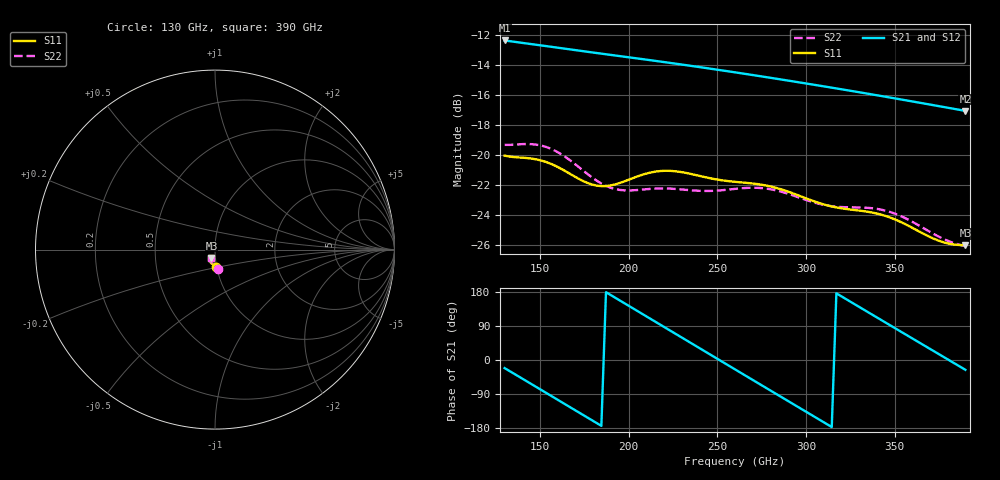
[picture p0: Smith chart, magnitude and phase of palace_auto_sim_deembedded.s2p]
! Created with skrf 1.11.0 (http://scikit-rf.org).
# GHz S DB R 50.0
!freq dBS11 angS11 dBS21 angS21 dBS12 angS12 dBS22 angS22
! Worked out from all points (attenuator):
!   101 points, 130 GHz to 390 GHz, reference 50 ohm
!   highest |S21| = -12.35 dB at 130 GHz (marker M1); lowest = -17.1 dB at 390 GHz (marker M2)
!   lowest |S11| = -26.0 dB at 390 GHz (marker M3), VSWR 1.11, Z = 47.9 - j4.41 ohm
!   |S11| at or under -10 dB: start of sweep to end of sweep
!   |S22| runs from -26.1 to -19.3 dB; largest |S21 - S12| = 2.3e-13
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130  -20.04 -85.7  -12.35 -21.4  -12.35 -21.4  -19.32 -81.7
143  -20.21 -85.4  -12.56 -57.6  -12.56 -57.6  -19.26 -83.3
153.4  -20.47 -87.7  -12.72 -86.7  -12.72 -86.7  -19.46 -87.7
163.8  -21.04 -89.8  -12.89 -115.7  -12.89 -115.7  -20.09 -92.3
174.2  -21.73 -89.3  -13.06 -144.8  -13.06 -144.8  -21.03 -94.7
184.6  -22.08 -86.4  -13.23 -173.8  -13.23 -173.8  -21.90 -93.7
195  -21.87 -84.0  -13.39 157.1  -13.39 157.1  -22.33 -90.9
208  -21.31 -85.3  -13.60 120.7  -13.60 120.7  -22.31 -89.1
218.4  -21.06 -88.9  -13.76 91.6  -13.76 91.6  -22.23 -89.9
228.8  -21.12 -93.1  -13.94 62.5  -13.94 62.5  -22.29 -91.3
241.8  -21.44 -97.0  -14.16 26.2  -14.16 26.2  -22.40 -92.4
260  -21.79 -100.4  -14.48 -24.7  -14.48 -24.7  -22.26 -94.7
270.4  -21.91 -102.9  -14.66 -53.7  -14.66 -53.7  -22.19 -97.6
280.8  -22.12 -106.0  -14.85 -82.7  -14.85 -82.7  -22.30 -101.3
291.2  -22.50 -108.8  -15.05 -111.7  -15.05 -111.7  -22.64 -104.5
304.2  -23.08 -110.9  -15.30 -148.0  -15.30 -148.0  -23.16 -106.7
322.4  -23.60 -111.7  -15.65 161.4  -15.65 161.4  -23.49 -107.8
335.4  -23.80 -113.5  -15.91 125.3  -15.91 125.3  -23.53 -110.4
348.4  -24.21 -116.3  -16.18 89.2  -16.18 89.2  -23.84 -114.6
358.8  -24.79 -117.9  -16.39 60.4  -16.39 60.4  -24.38 -117.5
371.8  -25.57 -117.1  -16.67 24.4  -16.67 24.4  -25.25 -118.7
390  -26.02 -113.1  -17.05 -25.9  -17.05 -25.9  -26.09 -116.2
